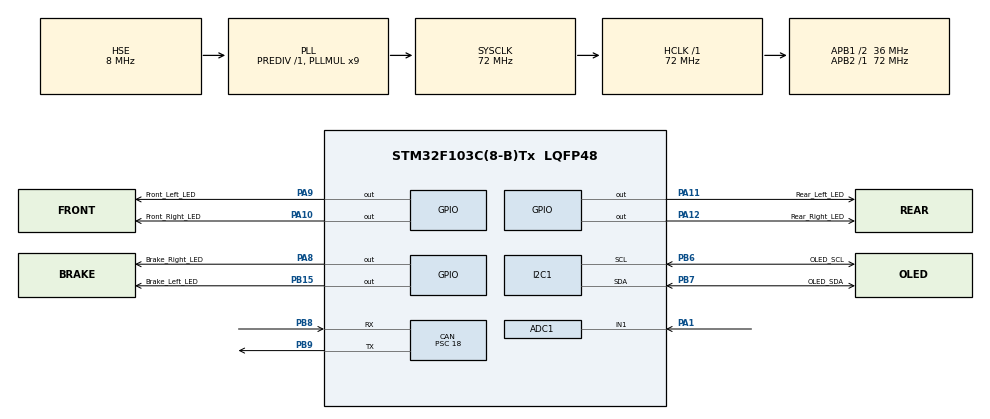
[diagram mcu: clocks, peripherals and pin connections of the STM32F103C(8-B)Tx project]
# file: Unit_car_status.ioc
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ADC1.Channel-0\#ChannelRegularConversion=ADC_CHANNEL_1
ADC1.NbrOfConversionFlag=1
ADC1.Rank-0\#ChannelRegularConversion=1
ADC1.SamplingTime-0\#ChannelRegularConversion=ADC_SAMPLETIME_239CYCLES_5
ADC1.master=1
CAN.ABOM=ENABLE
CAN.BS1=CAN_BS1_2TQ
CAN.CalculateBaudRate=500000
CAN.CalculateTimeBit=2000
CAN.CalculateTimeQuantum=500.0
CAN.NART=ENABLE
CAN.Prescaler=18
CAN.SJW=CAN_SJW_2TQ
FREERTOS.Queues01=CANRxQueue,10,CAN_RxPacket_t,0,Dynamic,NULL,NULL;DisplayDataQueue,5,DisplayData_t,0,Dynamic,NULL,NULL
FREERTOS.Tasks01=CANTask,40,256,StartCANTask,Default,NULL,Dynamic,NULL,NULL;DisplayTask,24,256,StartDisplayTask,Default,NULL,Dynamic,NULL,NULL
FREERTOS.configUSE_NEWLIB_REENTRANT=1
I2C1.I2C_Mode=I2C_Fast
Mcu.Family=STM32F1
Mcu.Name=STM32F103C(8-B)Tx
Mcu.Package=LQFP48
NVIC.CAN1_RX1_IRQn=true\:5\:0\:false\:false\:true\:true\:true\:true\:true
NVIC.PriorityGroup=NVIC_PRIORITYGROUP_4
NVIC.TIM3_IRQn=true\:15\:0\:false\:false\:true\:false\:false\:true\:true
NVIC.TimeBase=TIM3_IRQn
NVIC.TimeBaseIP=TIM3
PA1.Signal=ADCx_IN1
PA10.GPIO_Label=Front_Right_LED
PA10.Signal=GPIO_Output
PA11.GPIO_Label=Rear_Left_LED
PA11.Signal=GPIO_Output
PA12.GPIO_Label=Rear_Right_LED
PA12.Signal=GPIO_Output
PA13.Mode=Serial_Wire
PA13.Signal=SYS_JTMS-SWDIO
PA14.Mode=Serial_Wire
PA14.Signal=SYS_JTCK-SWCLK
PA8.GPIO_Label=Brake_Right_LED
PA8.Signal=GPIO_Output
PA9.GPIO_Label=Front_Left_LED
PA9.Signal=GPIO_Output
PB15.GPIO_Label=Brake_Left_LED
PB15.Signal=GPIO_Output
PB6.GPIO_Label=OLED_SCL
PB6.Mode=I2C
PB6.Signal=I2C1_SCL
PB7.GPIO_Label=OLED_SDA
PB7.Mode=I2C
PB7.Signal=I2C1_SDA
PB8.Mode=CAN_Activate
PB8.Signal=CAN_RX
PB9.Mode=CAN_Activate
PB9.Signal=CAN_TX
PD0-OSC_IN.Mode=HSE-External-Oscillator
PD0-OSC_IN.Signal=RCC_OSC_IN
PD1-OSC_OUT.Mode=HSE-External-Oscillator
PD1-OSC_OUT.Signal=RCC_OSC_OUT
ProjectManager.HeapSize=0x200
ProjectManager.StackSize=0x400
ProjectManager.TargetToolchain=STM32CubeIDE
RCC.ADCPresc=RCC_ADCPCLK2_DIV6
RCC.AHBFreq_Value=72000000
RCC.APB1CLKDivider=RCC_HCLK_DIV2
RCC.APB1Freq_Value=36000000
RCC.APB1TimFreq_Value=72000000
RCC.APB2Freq_Value=72000000
RCC.APB2TimFreq_Value=72000000
RCC.HCLKFreq_Value=72000000
RCC.PLLMUL=RCC_PLL_MUL9
RCC.PLLSourceVirtual=RCC_PLLSOURCE_HSE
RCC.SYSCLKFreq_VALUE=72000000
RCC.SYSCLKSource=RCC_SYSCLKSOURCE_PLLCLK
RCC.USBFreq_Value=72000000
SH.ADCx_IN1.0=ADC1_IN1,IN1
VP_FREERTOS_VS_CMSIS_V2.Mode=CMSIS_V2
VP_SYS_VS_tim3.Mode=TIM3
board=custom

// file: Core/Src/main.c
/* USER CODE BEGIN Header */
/**
  ******************************************************************************
  * @file           : main.c
  * @brief          : Main program body
  ******************************************************************************
  * @attention
  *
  * Copyright (c) 2025 STMicroelectronics.
  * All rights reserved.
  *
  * This software is licensed under terms that can be found in the LICENSE file
  * in the root directory of this software component.
  * If no LICENSE file comes with this software, it is provided AS-IS.
  *
  ******************************************************************************
  */
/* USER CODE END Header */
#include "main.h"
#include "cmsis_os.h"
#include "adc.h"
#include "can.h"
#include "i2c.h"
#include "gpio.h"

/* USER CODE BEGIN Includes */
#include "can_handler.h"
#include "battery_monitor.h"
#include "oled_display.h"
#include "string.h" // strlen() 함수를 사용하기 위해 string.h 헤더를 추가합니다.
#include "stdio.h"
/* USER CODE END Includes */

/* USER CODE BEGIN PD */
#define CAN_TIMEOUT_MS 250
/* USER CODE END PD */

/* USER CODE BEGIN PV */

// Central 보드로부터 마지막 CAN 메시지를 수신한 시간을 저장한다 (타임아웃 감지용)
volatile uint32_t g_last_rx_time_central = 0;
// Sensor 보드로부터 마지막 CAN 메시지를 수신한 시간을 저장한다 (타임아웃 감지용)
volatile uint32_t g_last_rx_time_sensor = 0;

/* USER CODE END PV */

void SystemClock_Config(void);
void MX_FREERTOS_Init(void);

int main(void)
{

  /* MCU Configuration--------------------------------------------------------*/

  /* Reset of all peripherals, Initializes the Flash interface and the Systick. */
  HAL_Init();

  /* Configure the system clock */
  SystemClock_Config();

  /* Initialize all configured peripherals */
  MX_GPIO_Init();
  MX_CAN_Init();
  MX_I2C1_Init();
  MX_ADC1_Init();
  /* USER CODE BEGIN 2 */

  // 주변장치 드라이버 및 관련 변수를 초기화한다.
  OLED_Init();

  // 프로그램 시작 시 타임스탬프를 현재 시간으로 초기화하여,
  // 첫 메시지 수신 전까지 타임아웃이 발생하는 것을 방지한다.
  g_last_rx_time_central = HAL_GetTick();
  g_last_rx_time_sensor = HAL_GetTick();
  /* USER CODE END 2 */

  /* Init scheduler */
  osKernelInitialize();

  /* Call init function for freertos objects (in cmsis_os2.c) */
  MX_FREERTOS_Init();

  /* Start scheduler */
  osKernelStart();

  /* We should never get here as control is now taken by the scheduler */

  /* Infinite loop */
  while (1)
  {

 }
}

void SystemClock_Config(void)
{
  RCC_OscInitTypeDef RCC_OscInitStruct = {0};
  RCC_ClkInitTypeDef RCC_ClkInitStruct = {0};
  RCC_PeriphCLKInitTypeDef PeriphClkInit = {0};

  /** Initializes the RCC Oscillators according to the specified parameters
  * in the RCC_OscInitTypeDef structure.
  */
  RCC_OscInitStruct.OscillatorType = RCC_OSCILLATORTYPE_HSE;
  RCC_OscInitStruct.HSEState = RCC_HSE_ON;
  RCC_OscInitStruct.HSEPredivValue = RCC_HSE_PREDIV_DIV1;
  RCC_OscInitStruct.HSIState = RCC_HSI_ON;
  RCC_OscInitStruct.PLL.PLLState = RCC_PLL_ON;
  RCC_OscInitStruct.PLL.PLLSource = RCC_PLLSOURCE_HSE;
  RCC_OscInitStruct.PLL.PLLMUL = RCC_PLL_MUL9;
  if (HAL_RCC_OscConfig(&RCC_OscInitStruct) != HAL_OK)
  {
    Error_Handler();
  }

  /** Initializes the CPU, AHB and APB buses clocks
  */
  RCC_ClkInitStruct.ClockType = RCC_CLOCKTYPE_HCLK|RCC_CLOCKTYPE_SYSCLK
                              |RCC_CLOCKTYPE_PCLK1|RCC_CLOCKTYPE_PCLK2;
  RCC_ClkInitStruct.SYSCLKSource = RCC_SYSCLKSOURCE_PLLCLK;
  RCC_ClkInitStruct.AHBCLKDivider = RCC_SYSCLK_DIV1;
  RCC_ClkInitStruct.APB1CLKDivider = RCC_HCLK_DIV2;
  RCC_ClkInitStruct.APB2CLKDivider = RCC_HCLK_DIV1;

  if (HAL_RCC_ClockConfig(&RCC_ClkInitStruct, FLASH_LATENCY_2) != HAL_OK)
  {
    Error_Handler();
  }
  PeriphClkInit.PeriphClockSelection = RCC_PERIPHCLK_ADC;
  PeriphClkInit.AdcClockSelection = RCC_ADCPCLK2_DIV6;
  if (HAL_RCCEx_PeriphCLKConfig(&PeriphClkInit) != HAL_OK)
  {
    Error_Handler();
  }
}

void HAL_TIM_PeriodElapsedCallback(TIM_HandleTypeDef *htim)
{
  if (htim->Instance == TIM3)
  {
    HAL_IncTick();
  }
}

void Error_Handler(void)
{
  __disable_irq();
  while (1)
  {
  }
}

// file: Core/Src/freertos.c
/* USER CODE BEGIN Header */
/**
  ******************************************************************************
  * File Name          : freertos.c
  * Description        : Code for freertos applications
  ******************************************************************************
  * @attention
  *
  * Copyright (c) 2025 STMicroelectronics.
  * All rights reserved.
  *
  * This software is licensed under terms that can be found in the LICENSE file
  * in the root directory of this software component.
  * If no LICENSE file comes with this software, it is provided AS-IS.
  *
  ******************************************************************************
  */
/* USER CODE END Header */

#include "FreeRTOS.h"
#include "task.h"
#include "main.h"
#include "cmsis_os.h"

/* USER CODE BEGIN Includes */
#include "can.h"
#include "can_handler.h"
#include "battery_monitor.h"
#include "oled_display.h"
#include "led_control.h"
/* USER CODE END Includes */

/**
 * @brief CANTask에서 처리된 데이터를 DisplayTask로 전달하기 위한 구조체
 */
typedef struct {
    // Sensor 데이터
    uint8_t status_distance;    // 거리 센서 상태
    uint8_t status_ldr;         // LDR 센서 값 (어두움 여부)
    // Central 데이터
    uint8_t status_direction;   // 주행 방향 상태
    uint8_t status_brake;       // 브레이크 상태
    bool rf_ok;                 // Central 보드의 RF 통신 상태
    // CAN 통신 상태 진단 결과
	bool is_central_can_ok;     // Central 보드와의 CAN 통신 정상 여부
	bool is_sensor_can_ok;      // Sensor 보드와의 CAN 통신 정상 여부
} DisplayData_t;

/* USER CODE END PTD */

/* USER CODE BEGIN PD */
// CAN 메시지 수신 타임아웃 시간 (ms). 이 시간 동안 메시지가 없으면 통신 두절로 간주한다.
#define CAN_TIMEOUT_MS 250
/* USER CODE END PD */

/* USER CODE BEGIN Variables */
extern volatile uint32_t g_last_rx_time_central;
extern volatile uint32_t g_last_rx_time_sensor;
extern CAN_HandleTypeDef hcan;
/* USER CODE END Variables */
/* Definitions for CANTask */
osThreadId_t CANTaskHandle;
const osThreadAttr_t CANTask_attributes = {
  .name = "CANTask",
  .stack_size = 256 * 4,
  .priority = (osPriority_t) osPriorityHigh,
};
/* Definitions for DisplayTask */
osThreadId_t DisplayTaskHandle;
const osThreadAttr_t DisplayTask_attributes = {
  .name = "DisplayTask",
  .stack_size = 256 * 4,
  .priority = (osPriority_t) osPriorityNormal,
};
/* Definitions for CANRxQueue */
osMessageQueueId_t CANRxQueueHandle;
const osMessageQueueAttr_t CANRxQueue_attributes = {
  .name = "CANRxQueue"
};
/* Definitions for DisplayDataQueue */
osMessageQueueId_t DisplayDataQueueHandle;
const osMessageQueueAttr_t DisplayDataQueue_attributes = {
  .name = "DisplayDataQueue"
};

void StartCANTask(void *argument);
void StartDisplayTask(void *argument);

void MX_FREERTOS_Init(void); /* (MISRA C 2004 rule 8.1) */

void MX_FREERTOS_Init(void) {

  /* Create the queue(s) */
  /* creation of CANRxQueue */
  CANRxQueueHandle = osMessageQueueNew (10, sizeof(CAN_RxPacket_t), &CANRxQueue_attributes);

  /* creation of DisplayDataQueue */
  DisplayDataQueueHandle = osMessageQueueNew (5, sizeof(DisplayData_t), &DisplayDataQueue_attributes);

  /* Create the thread(s) */
  /* creation of CANTask */
  CANTaskHandle = osThreadNew(StartCANTask, NULL, &CANTask_attributes);

  /* creation of DisplayTask */
  DisplayTaskHandle = osThreadNew(StartDisplayTask, NULL, &DisplayTask_attributes);

}

/* USER CODE BEGIN Header_StartCANTask */
/**
  * @brief  CANTask: CAN 수신 메시지를 처리하고 통신 상태를 진단한다.
  * @param  argument: None
  * @retval None
  * @details 20ms 주기로 CAN Rx 큐를 확인하여 수신된 모든 메시지를 처리한다.
  * 최신 데이터와 각 노드별 통신 타임아웃을 진단한 결과를 종합하여 DisplayDataQueue를 통해 DisplayTask로 전송한다.
  */
/* USER CODE END Header_StartCANTask */
void StartCANTask(void *argument)
{
  /* USER CODE BEGIN StartCANTask */
    CAN_RxPacket_t rxPacket;
    DisplayData_t displayData = {0};  // DisplayTask로 전송할 데이터 구조체

    CANHandler_Init(); // CAN 컨트롤러 시작, 필터 설정 및 수신 인터럽트 활성화

    for(;;)
	{
		// 20ms 주기로 동작하여 시스템의 다른 태스크에 영향을 주지 않으면서도 충분한 반응성을 확보한다.
		osDelay(20);

		// 1. CAN 수신 큐에 쌓여있는 모든 메시지를 non-blocking 방식으로 읽어들여 데이터를 최신 상태로 업데이트한다.
		while (osMessageQueueGet(CANRxQueueHandle, &rxPacket, NULL, 0) == osOK)
		{
			if (rxPacket.header.StdId == 0x6A5) // Sensor 보드로부터의 메시지인 경우
			{
				g_last_rx_time_sensor = HAL_GetTick(); // 마지막 수신 시간 갱신
				displayData.status_ldr = rxPacket.data[1];
			}
			else if (rxPacket.header.StdId == 0x321) // Central 보드로부터의 메시지인 경우
			{
				g_last_rx_time_central = HAL_GetTick(); // 마지막 수신 시간 갱신
				displayData.status_direction = rxPacket.data[0];
				displayData.status_brake = rxPacket.data[1];
				displayData.rf_ok = (bool)rxPacket.data[2];
			}
		}

		// 2. CAN 통신 상태를 진단한다.
		uint32_t now = HAL_GetTick();
		// CAN 컨트롤러 하드웨어 자체의 에러 상태를 확인한다.
		bool is_status_hw_ok = (HAL_CAN_GetState(&hcan) != HAL_CAN_STATE_ERROR);

		// Central 노드와의 통신 상태: HW 정상이고, 마지막 수신 후 타임아웃이 지나지 않았는지 확인한다.
		displayData.is_central_can_ok = is_status_hw_ok && ((now - g_last_rx_time_central) < CAN_TIMEOUT_MS);
		// Sensor 노드와의 통신 상태: HW 정상이고, 마지막 수신 후 타임아웃이 지나지 않았는지 확인한다.
		displayData.is_sensor_can_ok = is_status_hw_ok && ((now - g_last_rx_time_sensor) < CAN_TIMEOUT_MS);

		// 3. 처리된 최신 데이터 패키지를 DisplayDataQueue로 전송하여 DisplayTask가 사용하도록 한다.
		osMessageQueuePut(DisplayDataQueueHandle, &displayData, 0, 0);
	}
  /* USER CODE END StartCANTask */
}

/* USER CODE BEGIN Header_StartDisplayTask */
/**
* @brief DisplayTask: LED 및 OLED 디스플레이를 업데이트한다.
* @param argument: None
* @retval None
* @details DisplayDataQueue로부터 새로운 데이터가 수신될 때까지 대기한다.
* 데이터 수신 시, LED 상태는 즉시 업데이트하고 OLED 화면은 과도한 업데이트를 방지하기 위해 50ms 주기로 업데이트한다.
*/
/* USER CODE END Header_StartDisplayTask */
void StartDisplayTask(void *argument)
{
  /* USER CODE BEGIN StartDisplayTask */
    DisplayData_t localData = {0};
    uint32_t last_oled_update_tick = 0; // 마지막 OLED 업데이트 시간을 기록

  for(;;)
  {
	  // DisplayDataQueue에 데이터가 들어올 때까지 무한정 대기한다.
	  if (osMessageQueueGet(DisplayDataQueueHandle, &localData, NULL, osWaitForever) == osOK)
	  {
		  // LED는 즉각적인 반응이 중요하므로, 데이터 수신 즉시 상태를 업데이트한다.
		  LEDControl_Update(localData.status_ldr, localData.status_direction, localData.status_brake);

		  uint32_t current_tick = HAL_GetTick();

		  // OLED 화면은 50ms마다 한 번씩만 업데이트하여 I2C 버스 부하 및 화면 깜빡임을 줄인다.
		  if (current_tick - last_oled_update_tick >= 50)
		  {
			  last_oled_update_tick = current_tick; // 마지막 업데이트 시간 갱신

			  // 배터리 상태를 읽어온다.
			  float vout = 0.0f;
			  float percent = Read_Battery_Percentage(&vout);

			  // 전체 CAN 통신 상태를 종합한다 (Central과 Sensor 모두 정상이어야 함).
			  bool is_can_ok = localData.is_central_can_ok && localData.is_sensor_can_ok;

			  // 최종적으로 계산된 모든 정보를 OLED에 표시한다.
			  OLED_UpdateDisplay(percent, vout, is_can_ok, localData.rf_ok);
		  }
	  }
  }
  /* USER CODE END StartDisplayTask */
}
